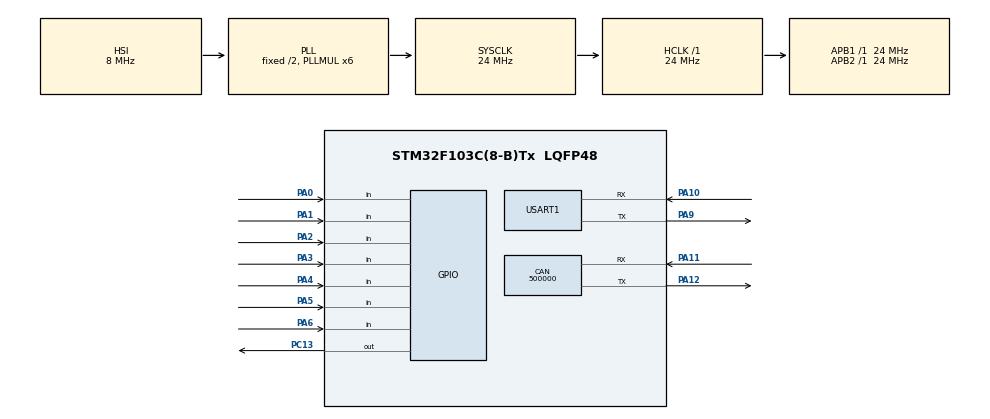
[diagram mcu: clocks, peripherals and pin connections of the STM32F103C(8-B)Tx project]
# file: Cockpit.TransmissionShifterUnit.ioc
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CAN.CalculateBaudRate=500000
CAN.CalculateTimeBit=2000
CAN.CalculateTimeQuantum=666.6666666666666
Mcu.Family=STM32F1
Mcu.Name=STM32F103C(8-B)Tx
Mcu.Package=LQFP48
NVIC.PriorityGroup=NVIC_PRIORITYGROUP_4
PA0-WKUP.GPIO_PuPd=GPIO_PULLUP
PA0-WKUP.Signal=GPIO_Input
PA1.GPIO_PuPd=GPIO_PULLUP
PA1.Signal=GPIO_Input
PA10.Mode=Asynchronous
PA10.Signal=USART1_RX
PA11.Mode=CAN_Activate
PA11.Signal=CAN_RX
PA12.Mode=CAN_Activate
PA12.Signal=CAN_TX
PA2.GPIO_PuPd=GPIO_PULLUP
PA2.Signal=GPIO_Input
PA3.GPIO_PuPd=GPIO_PULLUP
PA3.Signal=GPIO_Input
PA4.GPIO_PuPd=GPIO_PULLUP
PA4.Signal=GPIO_Input
PA5.GPIO_PuPd=GPIO_PULLUP
PA5.Signal=GPIO_Input
PA6.GPIO_PuPd=GPIO_PULLUP
PA6.Signal=GPIO_Input
PA9.Mode=Asynchronous
PA9.Signal=USART1_TX
PC13-TAMPER-RTC.Signal=GPIO_Output
PC14-OSC32_IN.Mode=LSE-External-Clock-Source
PC14-OSC32_IN.Signal=RCC_OSC32_IN
PC15-OSC32_OUT.Mode=LSE-External-Clock-Source
PC15-OSC32_OUT.Signal=RCC_OSC32_OUT
PD0-OSC_IN.Mode=HSE-External-Oscillator
PD0-OSC_IN.Signal=RCC_OSC_IN
PD1-OSC_OUT.Mode=HSE-External-Oscillator
PD1-OSC_OUT.Signal=RCC_OSC_OUT
ProjectManager.HeapSize=0x200
ProjectManager.StackSize=0x400
ProjectManager.TargetToolchain=CMake
RCC.AHBFreq_Value=24000000
RCC.APB1Freq_Value=24000000
RCC.APB1TimFreq_Value=24000000
RCC.APB2Freq_Value=24000000
RCC.APB2TimFreq_Value=24000000
RCC.HCLKFreq_Value=24000000
RCC.PLLMUL=RCC_PLL_MUL6
RCC.SYSCLKFreq_VALUE=24000000
RCC.SYSCLKSource=RCC_SYSCLKSOURCE_PLLCLK
RCC.USBFreq_Value=24000000
USART1.VirtualMode=VM_ASYNC
VP_SYS_VS_ND.Mode=No_Debug
board=custom

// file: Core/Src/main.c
/* USER CODE BEGIN Header */
/**
  ******************************************************************************
  * @file           : main.c
  * @brief          : Main program body
  ******************************************************************************
  * @attention
  *
  * Copyright (c) 2026 STMicroelectronics.
  * All rights reserved.
  *
  * This software is licensed under terms that can be found in the LICENSE file
  * in the root directory of this software component.
  * If no LICENSE file comes with this software, it is provided AS-IS.
  *
  ******************************************************************************
  */
/* USER CODE END Header */
#include "main.h"

/* USER CODE BEGIN Includes */
#include "gear_can.h"

/* USER CODE END Includes */

/* USER CODE BEGIN PD */
#define GEAR_TX_PERIOD_MS          100U
#define GEAR_DEBOUNCE_MS           20U

/* Error blink codes (N blinks, pause, repeat) */
#define ERR_STAGE_GEARCAN_INIT     1U
#define ERR_STAGE_RCC_OSC          2U
#define ERR_STAGE_RCC_CLK          3U
#define ERR_STAGE_CAN_INIT         4U
#define ERR_STAGE_UART1_INIT       5U

#define FAIL_WITH_STAGE(stage_)    do { g_errorStage = (stage_); Error_Handler(); } while (0)

typedef enum
{
  GEAR_N = 0U,
  GEAR_1 = 1U,
  GEAR_2 = 2U,
  GEAR_3 = 3U,
  GEAR_4 = 4U,
  GEAR_5 = 5U,
  GEAR_6 = 6U,
  GEAR_R = 0xFFU   /* -1 as int8 */
} GearState_t;

/* USER CODE END PD */

CAN_HandleTypeDef hcan;

UART_HandleTypeDef huart1;

/* USER CODE BEGIN PV */
static GearState_t g_lastReportedGear = GEAR_N;
static GearState_t g_stableGear = GEAR_N;
static GearState_t g_lastRawGear = GEAR_N;
static uint32_t g_lastPeriodicTxTick = 0U;
static uint32_t g_lastRawChangeTick = 0U;
static uint32_t g_lastLedToggleTick = 0U;
static volatile uint32_t g_errorStage = 0U;

/* USER CODE END PV */

void SystemClock_Config(void);
static void MX_GPIO_Init(void);
static void MX_CAN_Init(void);
static void MX_USART1_UART_Init(void);
/* USER CODE BEGIN PFP */
static GearState_t ReadCurrentGear(void);

/* USER CODE END PFP */

int main(void)
{

  /* MCU Configuration--------------------------------------------------------*/

  /* Reset of all peripherals, Initializes the Flash interface and the Systick. */

  HAL_Init();

  /* Configure the system clock */
  SystemClock_Config();

  /* Initialize all configured peripherals */
  MX_GPIO_Init();
  MX_CAN_Init();
  MX_USART1_UART_Init();
  /* USER CODE BEGIN 2 */
  if (GearCan_Init(&hcan) != HAL_OK)
  {
    FAIL_WITH_STAGE(ERR_STAGE_GEARCAN_INIT);
  }

  g_stableGear = ReadCurrentGear();
  g_lastRawGear = g_stableGear;
  g_lastReportedGear = g_stableGear;
  (void)GearCan_Send(&hcan, (uint8_t)g_stableGear);
  g_lastPeriodicTxTick = HAL_GetTick();
  g_lastRawChangeTick = g_lastPeriodicTxTick;

  /* USER CODE END 2 */

  /* Infinite loop */
  while (1)
  {

    /* USER CODE BEGIN 3 */
    const GearState_t currentGear = ReadCurrentGear();
    const uint32_t now = HAL_GetTick();

    if ((now - g_lastLedToggleTick) >= 1000U)
    {
      HAL_GPIO_TogglePin(LED_GPIO_Port, LED_Pin);
      g_lastLedToggleTick = now;
    }

    if (currentGear != g_lastRawGear)
    {
      g_lastRawGear = currentGear;
      g_lastRawChangeTick = now;
    }

    if ((g_stableGear != g_lastRawGear) &&
        ((now - g_lastRawChangeTick) >= GEAR_DEBOUNCE_MS))
    {
      g_stableGear = g_lastRawGear;
    }

    if (g_stableGear != g_lastReportedGear)
    {
      (void)GearCan_Send(&hcan, (uint8_t)g_stableGear);
      g_lastReportedGear = g_stableGear;
    }

    if ((now - g_lastPeriodicTxTick) >= GEAR_TX_PERIOD_MS)
    {
      (void)GearCan_Send(&hcan, (uint8_t)g_stableGear);
      g_lastPeriodicTxTick = now;
    }
  }
  /* USER CODE END 3 */
}

void SystemClock_Config(void)
{
  RCC_OscInitTypeDef RCC_OscInitStruct = {0};
  RCC_ClkInitTypeDef RCC_ClkInitStruct = {0};

  /** Initializes the RCC Oscillators according to the specified parameters
  * in the RCC_OscInitTypeDef structure.
  */
  RCC_OscInitStruct.OscillatorType = RCC_OSCILLATORTYPE_HSI;
  RCC_OscInitStruct.HSIState = RCC_HSI_ON;
  RCC_OscInitStruct.HSICalibrationValue = RCC_HSICALIBRATION_DEFAULT;
  RCC_OscInitStruct.PLL.PLLState = RCC_PLL_ON;
  RCC_OscInitStruct.PLL.PLLSource = RCC_PLLSOURCE_HSI_DIV2;
  RCC_OscInitStruct.PLL.PLLMUL = RCC_PLL_MUL6;
  if (HAL_RCC_OscConfig(&RCC_OscInitStruct) != HAL_OK)
  {
    FAIL_WITH_STAGE(ERR_STAGE_RCC_OSC);
  }

  /** Initializes the CPU, AHB and APB buses clocks
  */
  RCC_ClkInitStruct.ClockType = RCC_CLOCKTYPE_HCLK|RCC_CLOCKTYPE_SYSCLK
                              |RCC_CLOCKTYPE_PCLK1|RCC_CLOCKTYPE_PCLK2;
  RCC_ClkInitStruct.SYSCLKSource = RCC_SYSCLKSOURCE_PLLCLK;
  RCC_ClkInitStruct.AHBCLKDivider = RCC_SYSCLK_DIV1;
  RCC_ClkInitStruct.APB1CLKDivider = RCC_HCLK_DIV1;
  RCC_ClkInitStruct.APB2CLKDivider = RCC_HCLK_DIV1;

  if (HAL_RCC_ClockConfig(&RCC_ClkInitStruct, FLASH_LATENCY_0) != HAL_OK)
  {
    FAIL_WITH_STAGE(ERR_STAGE_RCC_CLK);
  }
}

static void MX_CAN_Init(void)
{

  hcan.Instance = CAN1;
  /* Bluepill default clocking here is 24MHz; set CAN to 500kbps:
     24MHz / (Prescaler * (1 + BS1 + BS2)) = 500k
     Prescaler=3, BS1=13, BS2=2 => 24MHz / (3 * 16) = 500kbps */
  hcan.Init.Prescaler = 3;
  hcan.Init.Mode = CAN_MODE_NORMAL;
  hcan.Init.SyncJumpWidth = CAN_SJW_1TQ;
  hcan.Init.TimeSeg1 = CAN_BS1_13TQ;
  hcan.Init.TimeSeg2 = CAN_BS2_2TQ;
  hcan.Init.TimeTriggeredMode = DISABLE;
  hcan.Init.AutoBusOff = DISABLE;
  hcan.Init.AutoWakeUp = DISABLE;
  hcan.Init.AutoRetransmission = DISABLE;
  hcan.Init.ReceiveFifoLocked = DISABLE;
  hcan.Init.TransmitFifoPriority = DISABLE;
  if (HAL_CAN_Init(&hcan) != HAL_OK)
  {
    FAIL_WITH_STAGE(ERR_STAGE_CAN_INIT);
  }

}

static void MX_USART1_UART_Init(void)
{

  huart1.Instance = USART1;
  huart1.Init.BaudRate = 115200;
  huart1.Init.WordLength = UART_WORDLENGTH_8B;
  huart1.Init.StopBits = UART_STOPBITS_1;
  huart1.Init.Parity = UART_PARITY_NONE;
  huart1.Init.Mode = UART_MODE_TX_RX;
  huart1.Init.HwFlowCtl = UART_HWCONTROL_NONE;
  huart1.Init.OverSampling = UART_OVERSAMPLING_16;
  if (HAL_UART_Init(&huart1) != HAL_OK)
  {
    FAIL_WITH_STAGE(ERR_STAGE_UART1_INIT);
  }

}

static void MX_GPIO_Init(void)
{
  GPIO_InitTypeDef GPIO_InitStruct = {0};

  /* GPIO Ports Clock Enable */
  __HAL_RCC_GPIOC_CLK_ENABLE();
  __HAL_RCC_GPIOD_CLK_ENABLE();
  __HAL_RCC_GPIOA_CLK_ENABLE();

  /*Configure GPIO pins : PA0 PA1 PA2 PA3
                           PA4 PA5 PA6 */
  GPIO_InitStruct.Pin = GPIO_PIN_0|GPIO_PIN_1|GPIO_PIN_2|GPIO_PIN_3
                          |GPIO_PIN_4|GPIO_PIN_5|GPIO_PIN_6;
  GPIO_InitStruct.Mode = GPIO_MODE_INPUT;
  GPIO_InitStruct.Pull = GPIO_PULLUP;
  HAL_GPIO_Init(GPIOA, &GPIO_InitStruct);

  /* USER CODE BEGIN MX_GPIO_Init_2 */
  /* Bluepill onboard LED is typically on PC13 and is active-low. */
  GPIO_InitStruct.Pin = LED_Pin;
  GPIO_InitStruct.Mode = GPIO_MODE_OUTPUT_PP;
  GPIO_InitStruct.Speed = GPIO_SPEED_FREQ_LOW;
  HAL_GPIO_Init(LED_GPIO_Port, &GPIO_InitStruct);
  HAL_GPIO_WritePin(LED_GPIO_Port, LED_Pin, GPIO_PIN_SET); /* LED off */

  /* USER CODE END MX_GPIO_Init_2 */
}

/* USER CODE BEGIN 4 */
static GearState_t ReadCurrentGear(void)
{
  // Read all gear pins at once from GPIOA's Input Data Register (IDR)
  // Pins are PA0-PA6, so we are interested in the lower 7 bits.
  const uint16_t gearPinValues = (uint16_t)(GPIOA->IDR & 0x007FU);

  uint8_t pressedCount = 0U;
  GearState_t detected = GEAR_N;

  // Since pins are pulled-up, a pressed gear results in a 0.
  // We check bit by bit to see which one is 0.
  for (uint8_t i = 0U; i < 7U; i++)
  {
    // Check if the i-th bit is 0
    if (((gearPinValues >> i) & 1U) == GPIO_PIN_RESET)
    {
      pressedCount++;
      detected = (i == 6U) ? GEAR_R : (GearState_t)(i + 1U);
    }
  }

  // Only if exactly one gear is selected, we consider it valid.
  if (pressedCount != 1U)
  {
    return GEAR_N;
  }

  return detected;
}

/* USER CODE END 4 */

void Error_Handler(void)
{
  /* USER CODE BEGIN Error_Handler_Debug */
  /* User can add his own implementation to report the HAL error return state */
  /* Keep interrupts enabled so timebase (SysTick) can run for LED blink. */
  __HAL_RCC_GPIOC_CLK_ENABLE();

  GPIO_InitTypeDef GPIO_InitStruct = {0};
  GPIO_InitStruct.Pin = LED_Pin;
  GPIO_InitStruct.Mode = GPIO_MODE_OUTPUT_PP;
  GPIO_InitStruct.Speed = GPIO_SPEED_FREQ_LOW;
  HAL_GPIO_Init(LED_GPIO_Port, &GPIO_InitStruct);

  /* Error code: N blinks, pause, repeat. (Bluepill LED is typically active-low.) */
  uint32_t stage = g_errorStage;
  if (stage == 0U)
  {
    stage = 10U; /* Unknown error source */
  }

  while (1)
  {
    for (uint32_t i = 0U; i < stage; i++)
    {
      HAL_GPIO_WritePin(LED_GPIO_Port, LED_Pin, GPIO_PIN_RESET); /* LED on */
      HAL_Delay(120);
      HAL_GPIO_WritePin(LED_GPIO_Port, LED_Pin, GPIO_PIN_SET);   /* LED off */
      HAL_Delay(180);
    }
    HAL_Delay(800);
  }
  /* USER CODE END Error_Handler_Debug */
}
